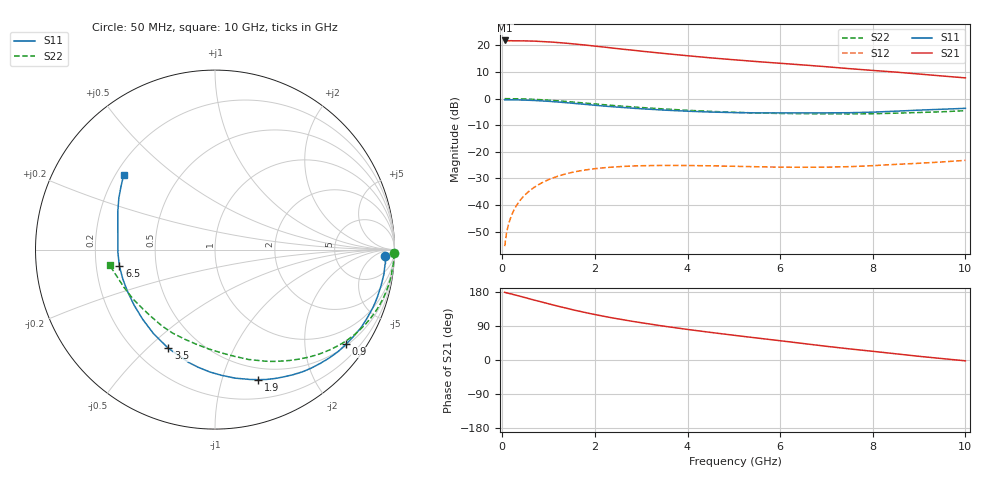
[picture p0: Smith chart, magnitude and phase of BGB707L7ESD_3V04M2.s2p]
!  Infineon Technologies AG
!  BGB707L7ESD
!  Vce = 3.0V, Ic = 4.2mA
!  DATUM: 30.06.2009 10:18:03
# GHz  S  MA  R  50
!f  S11  S21  S12  S22
!GHz  Mag  Ang  Mag  Ang  Mag  Ang  Mag  Ang
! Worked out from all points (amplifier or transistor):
!   52 points, 50 MHz to 10 GHz, reference 50 ohm
!   highest |S21| = 21.9 dB at 60 MHz (marker M1)
!   |S21| within 3 dB of that: start of sweep to 2.452 GHz
!   unconditionally stable (mu >= 1): 6.511 GHz to end of sweep
!   at 130 MHz: K = 0.03, MSG = 34.7 dB, |S12| = -47.5 dB
!   at 1.4 GHz: K = 0.13, MSG = 24.5 dB, |S12| = -28.2 dB
!   at 10 GHz: K = 1.01, MAG = 14.9 dB, |S12| = -23.2 dB
!   S11 on the Smith chart (normalised r, x): 50 MHz: 24, -18; 900 MHz: 0.54, -3.01; 1.9 GHz: 0.38, -1.32; 3.5 GHz: 0.33, -0.58; 6.5 GHz: 0.30, -0.08; 10 GHz: 0.23, +0.34
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0.05  0.9486 -2.3  12.17 178.5  0.00169 84.0  0.9983 -1.2
0.06  0.955 -2.8  12.39 178.2  0.001832 86.7  0.9986 -1.5
0.08  0.95 -3.1  12.18 177.4  0.002471 89.8  0.9986 -2.1
0.09  0.9526 -3.7  12.27 177.7  0.00297 86.0  0.9987 -2.4
0.1  0.9514 -4.2  12.21 176.8  0.003203 84.7  0.9978 -2.6
0.2  0.9512 -8.1  12.25 174.2  0.006465 85.1  0.9961 -5.4
0.5  0.9373 -20.2  12.15 164.5  0.01583 77.4  0.982 -13.5
0.9  0.9008 -35.8  11.76 151.4  0.02745 67.3  0.9465 -24.0
1.3  0.8505 -51.0  11.15 139.2  0.03707 57.9  0.8956 -33.9
1.5  0.8216 -58.0  10.76 133.2  0.04099 53.5  0.8664 -38.5
1.8  0.7787 -68.3  10.14 125.1  0.04573 47.7  0.8234 -44.9
1.9  0.7643 -71.5  9.919 122.4  0.04706 45.9  0.8091 -46.9
2.2  0.7253 -81.0  9.3 115.2  0.05029 41.0  0.7683 -52.6
2.6  0.6824 -92.4  8.49 106.4  0.05317 35.5  0.7208 -59.5
3  0.6457 -103.1  7.802 98.4  0.05482 31.1  0.6807 -65.9
3.5  0.6084 -115.3  7.046 89.1  0.05567 26.8  0.6391 -73.2
4.5  0.5595 -136.1  5.838 72.8  0.05469 21.9  0.5757 -86.7
5.5  0.5404 -154.3  4.967 58.0  0.05247 21.3  0.5373 -101.2
6.5  0.5405 -170.2  4.292 43.5  0.05133 24.6  0.5219 -116.6
7  0.5409 -177.8  3.971 36.2  0.0516 27.0  0.518 -124.8
8.5  0.5814 158.7  3.15 16.3  0.05819 34.4  0.5332 -149.0
10  0.6574 140.7  2.455 -2.2  0.06929 37.6  0.5934 -171.5
